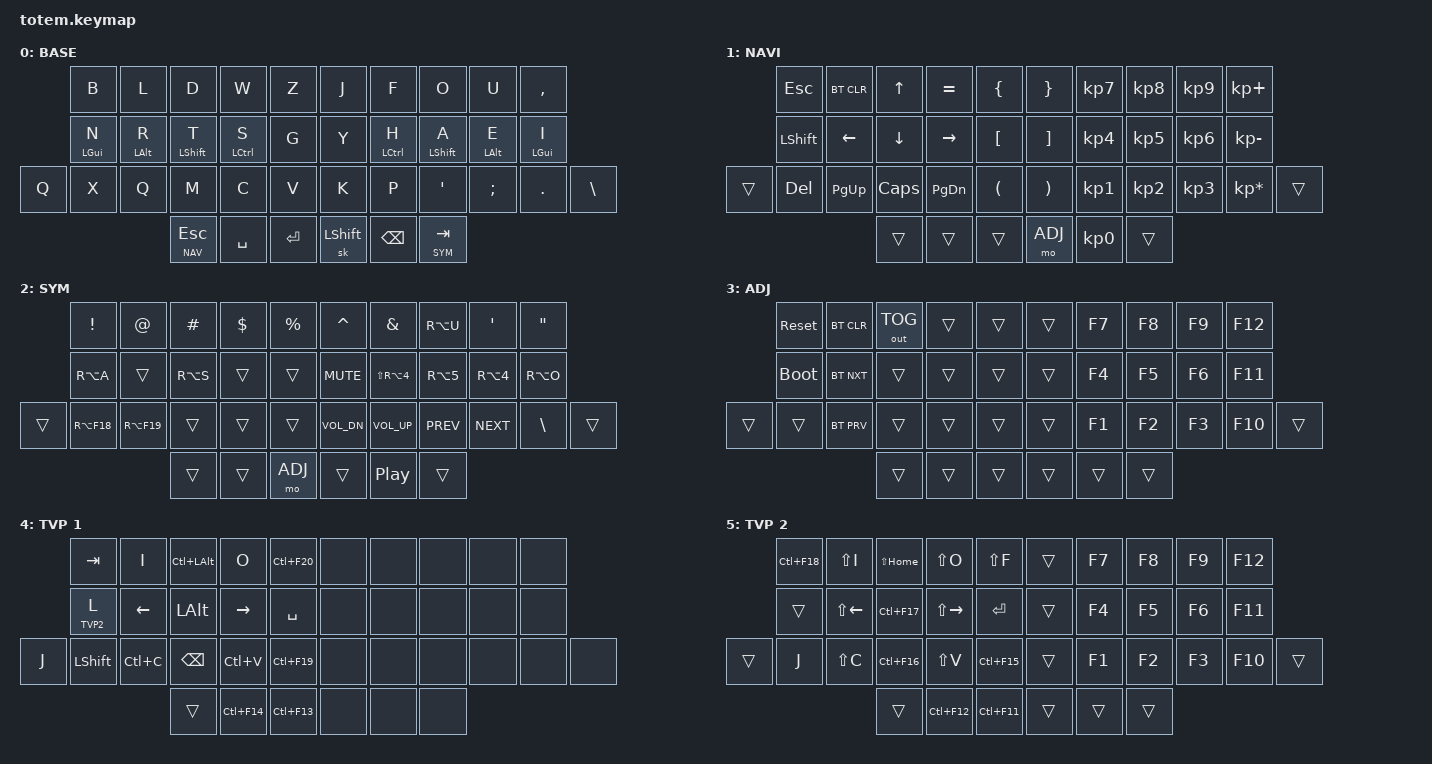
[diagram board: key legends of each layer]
//
//                                                        ▀▀▀▀▀     ▀▀▀▀▀          ▀▀█▀▀
//                                                        ▄▀▀▀▄  ▄  ▄▀▀▀▄  ▄  ▄▀▀▀▄  █  ▄▀▀▀▄
//                                                        █   █  █  █   █  █  █   █  █  █   █
//                                                         ▀▀▀   █   ▀▀▀   █   ▀▀▀   ▀   ▀▀▀
//                                                               █      ▄▄▄█▄▄▄    █   █  
//                                                               ▀      █  █  █     █▄█
//                                                             ▀▀▀▀▀    █  █  █      ▀
//                                                                      ▀  ▀  ▀
//
// ▄▄▄▄▄▄▄▄▄▄▄▄▄▄▄▄▄▄▄▄▄▄▄▄▄▄▄▄▄▄▄▄▄▄▄▄▄▄▄▄▄▄▄▄▄▄▄▄▄▄▄▄▄▄▄▄▄▄▄▄▄▄▄▄▄▄▄▄▄▄▄▄▄▄▄▄▄▄▄▄▄▄▄▄▄▄▄▄▄▄▄▄▄▄▄▄▄▄▄▄▄▄▄▄▄▄▄▄▄▄▄▄▄▄▄▄▄▄▄▄▄▄▄▄▄▄▄▄▄▄▄▄▄▄▄▄▄▄▄▄▄▄▄▄▄▄▄▄▄
       

#include <behaviors.dtsi>
#include <dt-bindings/zmk/keys.h>
#include <dt-bindings/zmk/bt.h>
#include <dt-bindings/zmk/outputs.h>
#include "zmk-helpers/helper.h"

#define BASE 0
#define NAV  1
#define SYM  2
#define ADJ  3
#define TVP1 4
#define TVP2 5

&mt {
  quick-tap-ms = <100>;
  global-quick-tap;
  flavor = "tap-preferred";
  tapping-term-ms = <170>;
};

&sk {
    release-after-ms = <2000>;
    quick-release;
};

#include "zmk-helpers/key-labels/totem.h"                                      // Source key-labels.
#define KEYS_L LT0 LT1 LT2 LT3 LT4 LM0 LM1 LM2 LM3 LM4 LB0 LB1 LB2 LB3 LB4 LB5  // Left-hand keys.
#define KEYS_R RT0 RT1 RT2 RT3 RT4 RM0 RM1 RM2 RM3 RM4 RB0 RB1 RB2 RB3 RB4 RB5  // Right-hand keys.
#define THUMBS LH2 LH1 LH0 RH0 RH1 RH2                                      // Thumb keys.

/* Left-hand HRMs. */
ZMK_HOLD_TAP(hml,
    flavor = "balanced";
    tapping-term-ms = <280>;
    quick-tap-ms = <175>;
    require-prior-idle-ms = <150>;
    bindings = <&kp>, <&kp>;
    hold-trigger-key-positions = <KEYS_R THUMBS>;
    hold-trigger-on-release;
)

/* Right-hand HRMs. */
ZMK_HOLD_TAP(hmr,
    flavor = "balanced";
    tapping-term-ms = <280>;
    quick-tap-ms = <175>;
    require-prior-idle-ms = <150>;
    bindings = <&kp>, <&kp>;
    hold-trigger-key-positions = <KEYS_L THUMBS>;
    hold-trigger-on-release;
)

/ {
    
        keymap {
                compatible = "zmk,keymap";
// ▄▄▄▄▄▄▄▄▄▄▄▄▄▄▄▄▄▄▄▄▄▄▄▄▄▄▄▄▄▄▄▄▄▄▄▄▄▄▄▄▄▄▄▄▄▄▄▄▄▄▄▄▄▄▄▄▄▄▄▄▄▄▄▄▄▄▄▄▄▄▄▄▄▄▄▄▄▄▄▄▄▄▄▄▄▄▄▄▄▄▄▄▄▄▄▄▄▄▄▄▄▄▄▄▄▄▄▄▄▄▄▄▄▄▄▄▄▄▄▄▄▄▄▄▄▄▄▄▄▄▄▄▄▄▄▄▄▄▄▄▄▄▄▄▄▄▄▄▄

                base_layer {
// ┏━━━━━━━━━━━━━━━━━━━━━━━━━━━━━━━━━━━━━━━┓
label= "BASE"                              ;
// ┗━━━━━━━━━━━━━━━━━━━━━━━━━━━━━━━━━━━━━━━┛
//             ┏━━━━━━━━━━━┳━━━━━━━━━━━┳━━━━━━━━━━━┳━━━━━━━━━━━┳━━━━━━━━━━━┓   ┏━━━━━━━━━━━┳━━━━━━━━━━━┳━━━━━━━━━━━┳━━━━━━━━━━━┳━━━━━━━━━━━┓
//             ┃     B     ┃     L     ┃     D     ┃     W     ┃     Z     ┃   ┃     J     ┃     F     ┃     O     ┃     U     ┃     ,     ┃
//             ┣━━━━━━━━━━━╋━━━━━━━━━━━╋━━━━━━━━━━━╋━━━━━━━━━━━╋━━━━━━━━━━━┫   ┣━━━━━━━━━━━╋━━━━━━━━━━━╋━━━━━━━━━━━╋━━━━━━━━━━━╋━━━━━━━━━━━┫
//             ┃     N     ┃     R     ┃     T     ┃     S     ┃     G     ┃   ┃     Y     ┃     H     ┃     A     ┃     E     ┃     I     ┃
// ┏━━━━━━━━━━━╋━━━━━━━━━━━╋━━━━━━━━━━━╋━━━━━━━━━━━╋━━━━━━━━━━━╋━━━━━━━━━━━┫   ┣━━━━━━━━━━━╋━━━━━━━━━━━╋━━━━━━━━━━━╋━━━━━━━━━━━╋━━━━━━━━━━━╋━━━━━━━━━━━┓
// ┃     Q     ┃     X     ┃     Q     ┃     M     ┃     C     ┃     V     ┃   ┃     K     ┃     P     ┃     '     ┃     ;     ┃     .     ┃     \     ┃
// ┗━━━━━━━━━━━┻━━━━━━━━━━━┻━━━━━━━━━━━╋━━━━━━━━━━━╋━━━━━━━━━━━╋━━━━━━━━━━━┫   ┣━━━━━━━━━━━╋━━━━━━━━━━━╋━━━━━━━━━━━╋━━━━━━━━━━━┻━━━━━━━━━━━┻━━━━━━━━━━━┛
//                                     ┃    ESC    ┃    SPC    ┃   ENTER   ┃   ┃    DEL    ┃   BSPC    ┃    TAB    ┃
//                                     ┗━━━━━━━━━━━┻━━━━━━━━━━━┻━━━━━━━━━━━┛   ┗━━━━━━━━━━━┻━━━━━━━━━━━┻━━━━━━━━━━━┛
 bindings = <
// ╷           ╷           ╷           ╷           ╷           ╷           ╷   ╷           ╷           ╷           ╷           ╷           ╷           ╷

                &kp B       &kp L       &kp D       &kp W       &kp Z           &kp J       &kp F       &kp O       &kp U       &kp COMMA
                &hml LGUI N &hml LALT R &hml LSHIFT T &hml LCTRL S  &kp G       &kp Y       &hmr LCTRL H &hmr LSHIFT A &hmr LALT E &hmr LGUI I
    &kp Q       &kp X       &kp Q       &kp M       &kp C       &kp V           &kp K       &kp P       &kp SQT     &kp SEMI    &kp DOT     &kp BSLH
                                        &lt NAV ESC &kp SPACE   &kp RET         &sk LSHIFT  &kp BSPC    &lt SYM TAB   
                        >;
                };

// ▄▄▄▄▄▄▄▄▄▄▄▄▄▄▄▄▄▄▄▄▄▄▄▄▄▄▄▄▄▄▄▄▄▄▄▄▄▄▄▄▄▄▄▄▄▄▄▄▄▄▄▄▄▄▄▄▄▄▄▄▄▄▄▄▄▄▄▄▄▄▄▄▄▄▄▄▄▄▄▄▄▄▄▄▄▄▄▄▄▄▄▄▄▄▄▄▄▄▄▄▄▄▄▄▄▄▄▄▄▄▄▄▄▄▄▄▄▄▄▄▄▄▄▄▄▄▄▄▄▄▄▄▄▄▄▄▄▄▄▄▄▄▄▄▄▄▄▄▄


                nav_layer {
// ┏━━━━━━━━━━━━━━━━━━━━━━━━━━━━━━━━━━━━━━━┓
label= "NAVI"                              ;
// ┗━━━━━━━━━━━━━━━━━━━━━━━━━━━━━━━━━━━━━━━┛
//             ┏━━━━━━━━━━━┳━━━━━━━━━━━┳━━━━━━━━━━━┳━━━━━━━━━━━┳━━━━━━━━━━━┓   ┏━━━━━━━━━━━┳━━━━━━━━━━━┳━━━━━━━━━━━┳━━━━━━━━━━━┳━━━━━━━━━━━┓
//             ┃           ┃           ┃     UP    ┃           ┃     {     ┃   ┃     }     ┃     7     ┃     8     ┃     9     ┃     +     ┃
//             ┣━━━━━━━━━━━╋━━━━━━━━━━━╋━━━━━━━━━━━╋━━━━━━━━━━━╋━━━━━━━━━━━┫   ┣━━━━━━━━━━━╋━━━━━━━━━━━╋━━━━━━━━━━━╋━━━━━━━━━━━╋━━━━━━━━━━━┫
//             ┃   SHIFT   ┃   LEFT    ┃    DOWN   ┃   RIGHT   ┃     [     ┃   ┃     ]     ┃     4     ┃     5     ┃     6     ┃     -     ┃
// ┏━━━━━━━━━━━╋━━━━━━━━━━━╋━━━━━━━━━━━╋━━━━━━━━━━━╋━━━━━━━━━━━╋━━━━━━━━━━━┫   ┣━━━━━━━━━━━╋━━━━━━━━━━━╋━━━━━━━━━━━╋━━━━━━━━━━━╋━━━━━━━━━━━╋━━━━━━━━━━━┓
// ┃           ┃           ┃   P UP    ┃  C LOCK   ┃  P DOWN   ┃     (     ┃   ┃     )     ┃     1     ┃     2     ┃     3     ┃     *     ┃           ┃
// ┗━━━━━━━━━━━┻━━━━━━━━━━━┻━━━━━━━━━━━╋━━━━━━━━━━━╋━━━━━━━━━━━╋━━━━━━━━━━━┫   ┣━━━━━━━━━━━╋━━━━━━━━━━━╋━━━━━━━━━━━╋━━━━━━━━━━━┻━━━━━━━━━━━┻━━━━━━━━━━━┛
//                                     ┃           ┃    TAB    ┃    SPC    ┃   ┃    DEL    ┃     0     ┃           ┃
//                                     ┗━━━━━━━━━━━┻━━━━━━━━━━━┻━━━━━━━━━━━┛   ┗━━━━━━━━━━━┻━━━━━━━━━━━┻━━━━━━━━━━━┛
 bindings = <
// ╷           ╷           ╷           ╷           ╷           ╷           ╷   ╷           ╷           ╷           ╷           ╷           ╷           ╷

                &kp ESC     &bt BT_CLR  &kp UP      &kp EQUAL   &kp LBRC        &kp RBRC    &kp KP_N7   &kp KP_N8   &kp KP_N9   &kp KP_PLUS
                &kp LSHFT   &kp LEFT    &kp DOWN    &kp RIGHT   &kp LBKT        &kp RBKT    &kp KP_N4   &kp KP_N5   &kp KP_N6   &kp KP_MINUS
    &trans      &kp DEL     &kp PG_UP   &kp CAPS    &kp PG_DN   &kp LPAR        &kp RPAR    &kp KP_N1   &kp KP_N2   &kp KP_N3   &kp KP_MULTIPLY &trans      
                                        &trans      &trans      &trans          &mo ADJ     &kp KP_N0   &trans      
                        >;
                };

// ▄▄▄▄▄▄▄▄▄▄▄▄▄▄▄▄▄▄▄▄▄▄▄▄▄▄▄▄▄▄▄▄▄▄▄▄▄▄▄▄▄▄▄▄▄▄▄▄▄▄▄▄▄▄▄▄▄▄▄▄▄▄▄▄▄▄▄▄▄▄▄▄▄▄▄▄▄▄▄▄▄▄▄▄▄▄▄▄▄▄▄▄▄▄▄▄▄▄▄▄▄▄▄▄▄▄▄▄▄▄▄▄▄▄▄▄▄▄▄▄▄▄▄▄▄▄▄▄▄▄▄▄▄▄▄▄▄▄▄▄▄▄▄▄▄▄▄▄▄


                sim_layer {
// ┏━━━━━━━━━━━━━━━━━━━━━━━━━━━━━━━━━━━━━━━┓
label= "SYM"                               ;
// ┗━━━━━━━━━━━━━━━━━━━━━━━━━━━━━━━━━━━━━━━┛
//             ┏━━━━━━━━━━━┳━━━━━━━━━━━┳━━━━━━━━━━━┳━━━━━━━━━━━┳━━━━━━━━━━━┓   ┏━━━━━━━━━━━┳━━━━━━━━━━━┳━━━━━━━━━━━┳━━━━━━━━━━━┳━━━━━━━━━━━┓
//             ┃     !     ┃     @     ┃     #     ┃     $     ┃     %     ┃   ┃     ˆ     ┃     &     ┃     Ü     ┃     '     ┃     "     ┃
//             ┣━━━━━━━━━━━╋━━━━━━━━━━━╋━━━━━━━━━━━╋━━━━━━━━━━━╋━━━━━━━━━━━┫   ┣━━━━━━━━━━━╋━━━━━━━━━━━╋━━━━━━━━━━━╋━━━━━━━━━━━╋━━━━━━━━━━━┫
//             ┃     Ä     ┃           ┃    SZ     ┃           ┃           ┃   ┃   MUTE    ┃   YEN     ┃   EURO    ┃  POUND    ┃     Ö     ┃
// ┏━━━━━━━━━━━╋━━━━━━━━━━━╋━━━━━━━━━━━╋━━━━━━━━━━━╋━━━━━━━━━━━╋━━━━━━━━━━━┫   ┣━━━━━━━━━━━╋━━━━━━━━━━━╋━━━━━━━━━━━╋━━━━━━━━━━━╋━━━━━━━━━━━╋━━━━━━━━━━━┓
// ┃           ┃  EMAIL1   ┃  EMAIL2   ┃           ┃           ┃           ┃   ┃   VOL-    ┃   VOL+    ┃   LAST    ┃   NEXT    ┃     \     ┃           ┃
// ┗━━━━━━━━━━━┻━━━━━━━━━━━┻━━━━━━━━━━━╋━━━━━━━━━━━╋━━━━━━━━━━━╋━━━━━━━━━━━┫   ┣━━━━━━━━━━━╋━━━━━━━━━━━╋━━━━━━━━━━━╋━━━━━━━━━━━┻━━━━━━━━━━━┻━━━━━━━━━━━┛
//                                     ┃           ┃           ┃    ADJ    ┃   ┃           ┃           ┃           ┃
//                                     ┗━━━━━━━━━━━┻━━━━━━━━━━━┻━━━━━━━━━━━┛   ┗━━━━━━━━━━━┻━━━━━━━━━━━┻━━━━━━━━━━━┛
 bindings = <
// ╷           ╷           ╷           ╷           ╷           ╷           ╷   ╷           ╷           ╷           ╷           ╷           ╷           ╷

                &kp EXCL    &kp AT      &kp HASH    &kp DLLR    &kp PRCNT       &kp CARET   &kp AMPS    &kp RA(U)   &kp SQT     &kp DQT       
                &kp RA(A)   &trans      &kp RA(S)   &trans      &trans          &kp C_MUTE  &kp LS(RA(N4)) &kp RA(N5) &kp RA(N4)   &kp RA(O) 
    &trans      &kp RA(F18) &kp RA(F19) &trans      &trans      &trans          &kp C_VOL_DN &kp C_VOL_UP &kp C_PREV &kp C_NEXT  &kp BSLH   &trans         
                                        &trans      &trans      &mo ADJ         &trans      &kp C_PP    &trans      
                        >;
                };

// ▄▄▄▄▄▄▄▄▄▄▄▄▄▄▄▄▄▄▄▄▄▄▄▄▄▄▄▄▄▄▄▄▄▄▄▄▄▄▄▄▄▄▄▄▄▄▄▄▄▄▄▄▄▄▄▄▄▄▄▄▄▄▄▄▄▄▄▄▄▄▄▄▄▄▄▄▄▄▄▄▄▄▄▄▄▄▄▄▄▄▄▄▄▄▄▄▄▄▄▄▄▄▄▄▄▄▄▄▄▄▄▄▄▄▄▄▄▄▄▄▄▄▄▄▄▄▄▄▄▄▄▄▄▄▄▄▄▄▄▄▄▄▄▄▄▄▄▄▄


                adjust_layer {
// ┏━━━━━━━━━━━━━━━━━━━━━━━━━━━━━━━━━━━━━━━┓
label= "ADJ"                               ;
// ┗━━━━━━━━━━━━━━━━━━━━━━━━━━━━━━━━━━━━━━━┛
//             ┏━━━━━━━━━━━┳━━━━━━━━━━━┳━━━━━━━━━━━┳━━━━━━━━━━━┳━━━━━━━━━━━┓   ┏━━━━━━━━━━━┳━━━━━━━━━━━┳━━━━━━━━━━━┳━━━━━━━━━━━┳━━━━━━━━━━━┓
//             ┃   RESET   ┃ BT CLEAR  ┃  OUT TOG  ┃           ┃           ┃   ┃           ┃    F7     ┃    F8     ┃    F9     ┃    F12    ┃
//             ┣━━━━━━━━━━━╋━━━━━━━━━━━╋━━━━━━━━━━━╋━━━━━━━━━━━╋━━━━━━━━━━━┫   ┣━━━━━━━━━━━╋━━━━━━━━━━━╋━━━━━━━━━━━╋━━━━━━━━━━━╋━━━━━━━━━━━┫
//             ┃ BOOTLOAD  ┃ BT NEXT   ┃           ┃           ┃           ┃   ┃           ┃    F4     ┃    F5     ┃    F6     ┃    F11    ┃
// ┏━━━━━━━━━━━╋━━━━━━━━━━━╋━━━━━━━━━━━╋━━━━━━━━━━━╋━━━━━━━━━━━╋━━━━━━━━━━━┫   ┣━━━━━━━━━━━╋━━━━━━━━━━━╋━━━━━━━━━━━╋━━━━━━━━━━━╋━━━━━━━━━━━╋━━━━━━━━━━━┓
// ┃           ┃           ┃ BT PREV   ┃           ┃           ┃           ┃   ┃           ┃    F1     ┃    F2     ┃    F3     ┃    F10    ┃           ┃
// ┗━━━━━━━━━━━┻━━━━━━━━━━━┻━━━━━━━━━━━╋━━━━━━━━━━━╋━━━━━━━━━━━╋━━━━━━━━━━━┫   ┣━━━━━━━━━━━╋━━━━━━━━━━━╋━━━━━━━━━━━╋━━━━━━━━━━━┻━━━━━━━━━━━┻━━━━━━━━━━━┛
//                                     ┃           ┃           ┃           ┃   ┃           ┃           ┃           ┃
//                                     ┗━━━━━━━━━━━┻━━━━━━━━━━━┻━━━━━━━━━━━┛   ┗━━━━━━━━━━━┻━━━━━━━━━━━┻━━━━━━━━━━━┛
 bindings = <
// ╷           ╷           ╷           ╷           ╷           ╷           ╷   ╷           ╷           ╷           ╷           ╷           ╷           ╷

                &sys_reset  &bt BT_CLR &out OUT_TOG &trans      &trans          &trans      &kp F7      &kp F8      &kp F9      &kp F12
                &bootloader &bt BT_NXT  &trans      &trans      &trans          &trans      &kp F4      &kp F5      &kp F6      &kp F11  
    &trans      &trans      &bt BT_PRV  &trans      &trans      &trans          &trans      &kp F1      &kp F2      &kp F3      &kp F10     &trans         
                                        &trans      &trans      &trans          &trans      &trans      &trans      
                        >;
                };

// ▄▄▄▄▄▄▄▄▄▄▄▄▄▄▄▄▄▄▄▄▄▄▄▄▄▄▄▄▄▄▄▄▄▄▄▄▄▄▄▄▄▄▄▄▄▄▄▄▄▄▄▄▄▄▄▄▄▄▄▄▄▄▄▄▄▄▄▄▄▄▄▄▄▄▄▄▄▄▄▄▄▄▄▄▄▄▄▄▄▄▄▄▄▄▄▄▄▄▄▄▄▄▄▄▄▄▄▄▄▄▄▄▄▄▄▄▄▄▄▄▄▄▄▄▄▄▄▄▄▄▄▄▄▄▄▄▄▄▄▄▄▄▄▄▄▄▄▄▄


                tvp1_layer {
// ┏━━━━━━━━━━━━━━━━━━━━━━━━━━━━━━━━━━━━━━━┓
label= "TVP 1"                             ;
// ┗━━━━━━━━━━━━━━━━━━━━━━━━━━━━━━━━━━━━━━━┛
//             ┏━━━━━━━━━━━┳━━━━━━━━━━━┳━━━━━━━━━━━┳━━━━━━━━━━━┳━━━━━━━━━━━┓   ┏━━━━━━━━━━━┳━━━━━━━━━━━┳━━━━━━━━━━━┳━━━━━━━━━━━┳━━━━━━━━━━━┓
//             ┃ NEXT FILE ┃ MARK IN   ┃ ROTATE    ┃ MARK OUT  ┃ SHOW SNAP ┃   ┃           ┃           ┃           ┃           ┃           ┃
//             ┣━━━━━━━━━━━╋━━━━━━━━━━━╋━━━━━━━━━━━╋━━━━━━━━━━━╋━━━━━━━━━━━┫   ┣━━━━━━━━━━━╋━━━━━━━━━━━╋━━━━━━━━━━━╋━━━━━━━━━━━╋━━━━━━━━━━━┫
//             ┃ TVP II    ┃ LEFT      ┃ PAN       ┃ RIGHT     ┃ PLAY/FLIP ┃   ┃           ┃           ┃           ┃           ┃           ┃
// ┏━━━━━━━━━━━╋━━━━━━━━━━━╋━━━━━━━━━━━╋━━━━━━━━━━━╋━━━━━━━━━━━╋━━━━━━━━━━━┫   ┣━━━━━━━━━━━╋━━━━━━━━━━━╋━━━━━━━━━━━╋━━━━━━━━━━━╋━━━━━━━━━━━╋━━━━━━━━━━━┓
// ┃ FULLSCR   ┃ SHIFT     ┃ COPY      ┃ DELETE    ┃ PASTE     ┃ IMG MARK  ┃   ┃           ┃           ┃           ┃           ┃           ┃           ┃
// ┗━━━━━━━━━━━┻━━━━━━━━━━━┻━━━━━━━━━━━╋━━━━━━━━━━━╋━━━━━━━━━━━╋━━━━━━━━━━━┫   ┣━━━━━━━━━━━╋━━━━━━━━━━━╋━━━━━━━━━━━╋━━━━━━━━━━━┻━━━━━━━━━━━┻━━━━━━━━━━━┛
//                                     ┃           ┃ UNDO/SAVE ┃  SEL/MOV  ┃   ┃           ┃           ┃           ┃
//                                     ┗━━━━━━━━━━━┻━━━━━━━━━━━┻━━━━━━━━━━━┛   ┗━━━━━━━━━━━┻━━━━━━━━━━━┻━━━━━━━━━━━┛
 bindings = <
// ╷           ╷           ╷           ╷           ╷           ╷           ╷   ╷           ╷           ╷           ╷           ╷           ╷           ╷

                &kp TAB     &kp I       &kp LC(LALT) &kp O      &kp LC(F20)     &none       &none       &none       &none       &none
                &lt TVP2 L  &kp LEFT    &kp LALT    &kp RIGHT   &kp SPACE       &none       &none       &none       &none       &none
    &kp J       &kp LSHFT   &kp LC(C)   &kp BSPC    &kp LC(V)   &kp LC(F19)     &none       &none       &none       &none       &none       &none        
                                        &trans      &kp LC(F14) &kp LC(F13)     &none       &none       &none    
                        >;
                };

// ▄▄▄▄▄▄▄▄▄▄▄▄▄▄▄▄▄▄▄▄▄▄▄▄▄▄▄▄▄▄▄▄▄▄▄▄▄▄▄▄▄▄▄▄▄▄▄▄▄▄▄▄▄▄▄▄▄▄▄▄▄▄▄▄▄▄▄▄▄▄▄▄▄▄▄▄▄▄▄▄▄▄▄▄▄▄▄▄▄▄▄▄▄▄▄▄▄▄▄▄▄▄▄▄▄▄▄▄▄▄▄▄▄▄▄▄▄▄▄▄▄▄▄▄▄▄▄▄▄▄▄▄▄▄▄▄▄▄▄▄▄▄▄▄▄▄▄▄▄


                tvp2_layer {
// ┏━━━━━━━━━━━━━━━━━━━━━━━━━━━━━━━━━━━━━━━┓
label= "TVP 2"                             ;
// ┗━━━━━━━━━━━━━━━━━━━━━━━━━━━━━━━━━━━━━━━┛
//             ┏━━━━━━━━━━━┳━━━━━━━━━━━┳━━━━━━━━━━━┳━━━━━━━━━━━┳━━━━━━━━━━━┓   ┏━━━━━━━━━━━┳━━━━━━━━━━━┳━━━━━━━━━━━┳━━━━━━━━━━━┳━━━━━━━━━━━┓
//             ┃ SOLO      ┃ TOGGLE IN ┃ RESET ROT ┃ TOGGLE OUT┃ TAKE SNAP ┃   ┃           ┃           ┃           ┃           ┃           ┃
//             ┣━━━━━━━━━━━╋━━━━━━━━━━━╋━━━━━━━━━━━╋━━━━━━━━━━━╋━━━━━━━━━━━┫   ┣━━━━━━━━━━━╋━━━━━━━━━━━╋━━━━━━━━━━━╋━━━━━━━━━━━╋━━━━━━━━━━━┫
//             ┃ ---       ┃ LAST KEY  ┃ NEW KEY   ┃ NEXT KEY  ┃ ENTER     ┃   ┃           ┃           ┃           ┃           ┃           ┃
// ┏━━━━━━━━━━━╋━━━━━━━━━━━╋━━━━━━━━━━━╋━━━━━━━━━━━╋━━━━━━━━━━━╋━━━━━━━━━━━┫   ┣━━━━━━━━━━━╋━━━━━━━━━━━╋━━━━━━━━━━━╋━━━━━━━━━━━╋━━━━━━━━━━━╋━━━━━━━━━━━┓
// ┃           ┃ FULLSCR   ┃ CPY2BRUSH ┃ DEL HEAD  ┃ PSTinPLACE┃ BOOK MARK ┃   ┃           ┃           ┃           ┃           ┃           ┃           ┃
// ┗━━━━━━━━━━━┻━━━━━━━━━━━┻━━━━━━━━━━━╋━━━━━━━━━━━╋━━━━━━━━━━━╋━━━━━━━━━━━┫   ┣━━━━━━━━━━━╋━━━━━━━━━━━╋━━━━━━━━━━━╋━━━━━━━━━━━┻━━━━━━━━━━━┻━━━━━━━━━━━┛
//                                     ┃           ┃ REDO/SAV1 ┃TRANS/WARP ┃   ┃           ┃           ┃           ┃
//                                     ┗━━━━━━━━━━━┻━━━━━━━━━━━┻━━━━━━━━━━━┛   ┗━━━━━━━━━━━┻━━━━━━━━━━━┻━━━━━━━━━━━┛
 bindings = <
// ╷           ╷           ╷           ╷           ╷           ╷           ╷   ╷           ╷           ╷           ╷           ╷           ╷           ╷

                &kp LC(F18) &kp LS(I)  &kp LS(HOME) &kp LS(O)   &kp LS(F)       &trans      &kp F7      &kp F8      &kp F9      &kp F12
                &trans      &kp LS(LEFT) &kp LC(F17) &kp LS(RIGHT) &kp RET      &trans      &kp F4      &kp F5      &kp F6      &kp F11  
    &trans      &kp J       &kp LS(C)   &kp LC(F16) &kp LS(V)   &kp LC(F15)     &trans      &kp F1      &kp F2      &kp F3      &kp F10     &trans         
                                        &trans      &kp LC(F12) &kp LC(F11)     &trans      &trans      &trans      
                        >;
                };
        };
};
